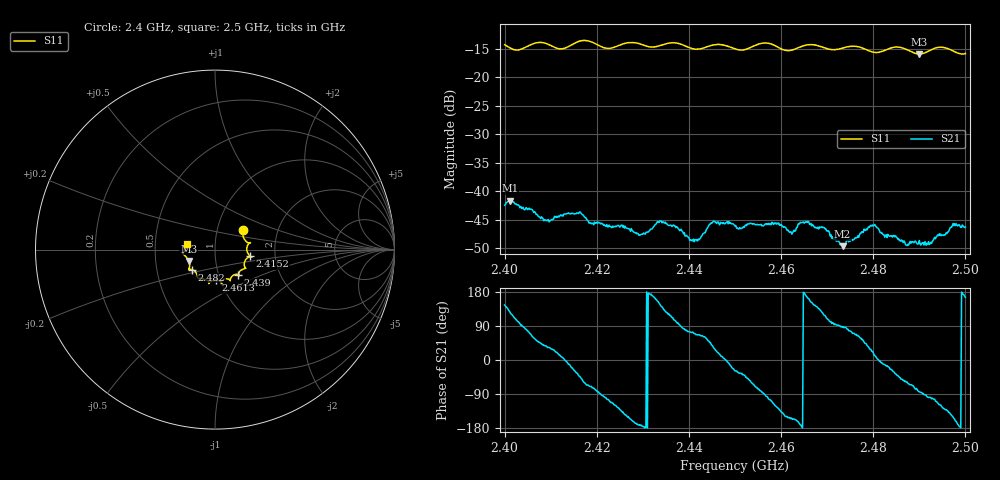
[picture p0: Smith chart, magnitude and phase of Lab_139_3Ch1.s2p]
# Hz S RI R 50
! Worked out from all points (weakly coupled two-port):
!   601 points, 2.4 GHz to 2.5 GHz, reference 50 ohm
!   highest |S21| = -41.61 dB at 2.4012 GHz (marker M1); lowest = -49.6 dB at 2.4733 GHz (marker M2)
!   lowest |S11| = -16.0 dB at 2.49 GHz (marker M3), VSWR 1.38, Z = 37 - j4.83 ohm
!   |S11| at or under -10 dB: start of sweep to end of sweep
!   S12 and S22 are empty: the file has one direction only
!   S11 on the Smith chart (normalised r, x): 2.4 GHz: 1.33, +0.31; 2.4152 GHz: 1.48, -0.11; 2.439 GHz: 1.24, -0.36; 2.4613 GHz: 0.96, -0.34; 2.482 GHz: 0.76, -0.17; 2.5 GHz: 0.73, +0.05
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2.4e9  0.1566 0.1112  -0.0062 0.0043  0 0  0 0
2.401167e9  0.155 0.0926  -0.00494 0.00668  0 0  0 0
2.409333e9  0.1916 0.0368  0.00465 0.00299  0 0  0 0
2.415167e9  0.1948 -0.0364  0.00556 -0.00304  0 0  0 0
2.416667e9  0.2044 -0.0422  0.00418 -0.00482  0 0  0 0
2.418833e9  0.1997 -0.0396  0.0018 -0.00487  0 0  0 0
2.4295e9  0.1635 -0.1063  -0.00414 -0.000513  0 0  0 0
2.433333e9  0.1326 -0.1321  -0.00482 0.00237  0 0  0 0
2.439e9  0.1283 -0.1391  0.000578 0.0043  0 0  0 0
2.441667e9  0.1017 -0.1434  0.00147 0.00348  0 0  0 0
2.445167e9  0.084 -0.1716  0.00432 0.0032  0 0  0 0
2.45e9  0.0686 -0.163  0.00435 -0.00238  0 0  0 0
2.456667e9  0.0395 -0.1954  -0.000434 -0.00519  0 0  0 0
2.461333e9  0.00704 -0.1706  -0.00391 -0.00231  0 0  0 0
2.466667e9  -0.0333 -0.1898  -0.0044 0.00233  0 0  0 0
2.473333e9  -0.0809 -0.1603  0.000196 0.0033  0 0  0 0
2.479833e9  -0.1058 -0.1279  0.00468 0.00196  0 0  0 0
2.482e9  -0.1264 -0.1115  0.00418 -0.0007  0 0  0 0
2.483333e9  -0.1393 -0.1096  0.00388 -0.00129  0 0  0 0
2.49e9  -0.1461 -0.0636  0.000394 -0.00368  0 0  0 0
2.4945e9  -0.1811 -0.0222  -0.00196 -0.00361  0 0  0 0
2.5e9  -0.1576 0.0333  -0.0047 0.00122  0 0  0 0
